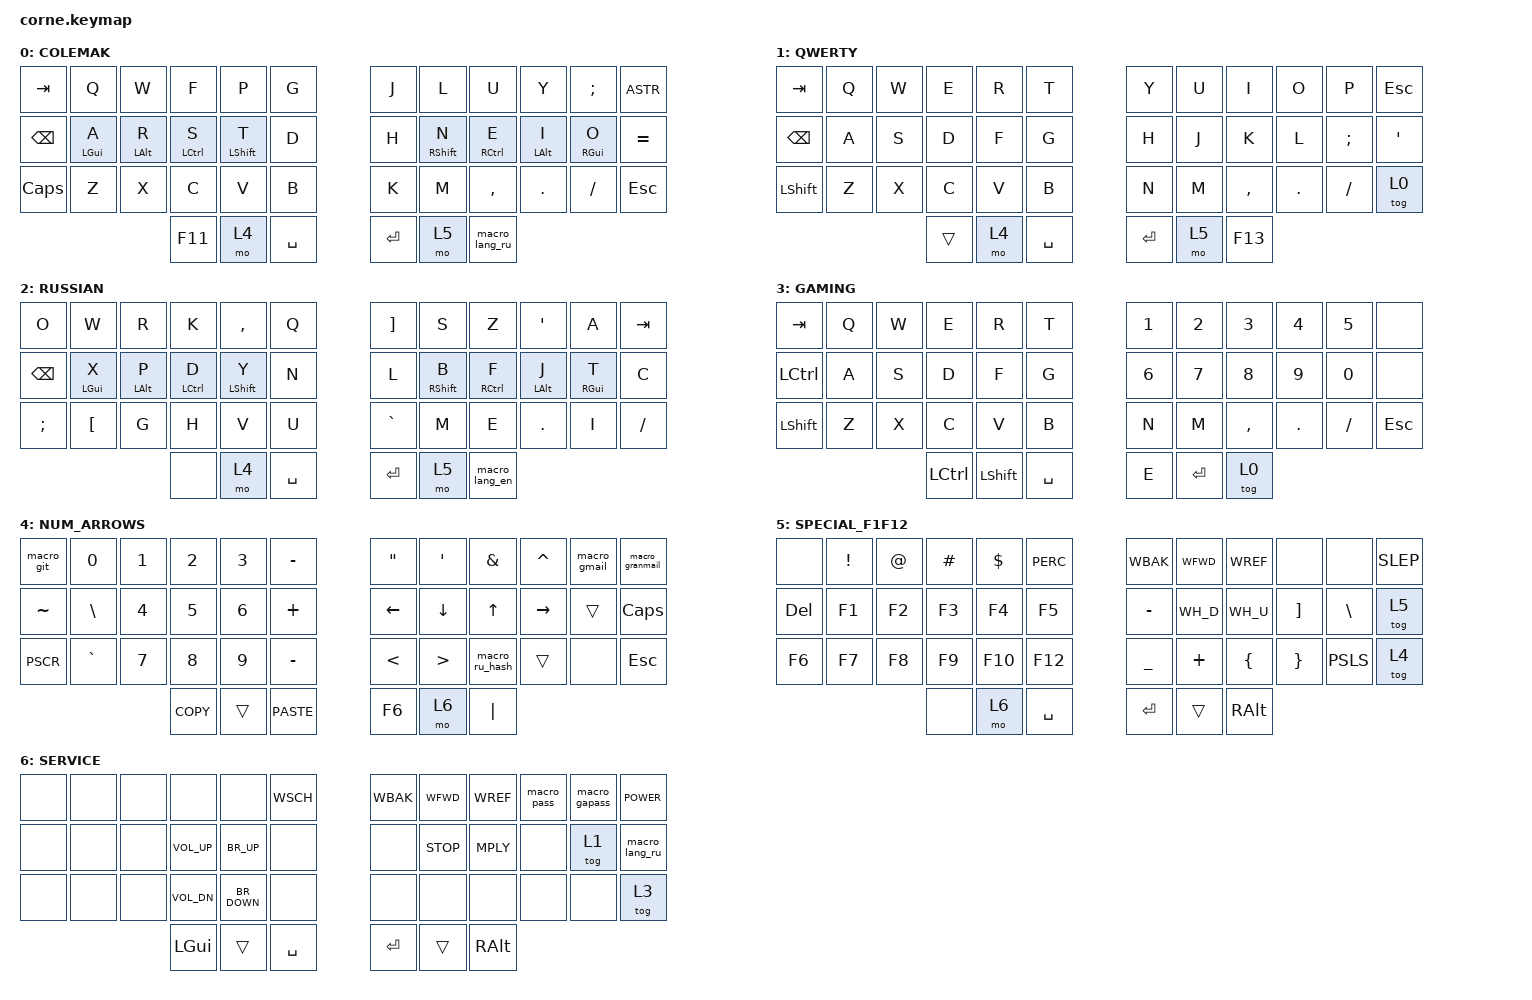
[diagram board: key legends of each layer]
/ {
    /* ======================
     * 1) Define macros here
     * ======================
     * Each macro is labeled and holds a sequence of key presses. 
     * You can adapt them to replicate your QMK strings (like ESC + ":w" + ENTER). 
     */
    macros {
        m_save_w: macro_save_w {
            label = "SAVE_W";
            #binding-cells = <0>;
            /*
             * This replicates:
             *   ESC -> ":w" -> ENTER
             */
            bindings = <
                &kp ESC
                &str ":w"
                &kp ENTER
            >;
        };

        m_wq: macro_wq {
            label = "WQ";
            #binding-cells = <0>;
            /*
             *   ESC -> ":wq" -> ENTER
             */
            bindings = <
                &kp ESC
                &str ":wq"
                &kp ENTER
            >;
        };

        m_pass: macro_pass {
            label = "PASS";
            #binding-cells = <0>;
            /*
             *   "" -> ENTER
             */
            bindings = <
                &str ""
                &kp ENTER
            >;
        };

        m_gapass: macro_gapass {
            label = "GAPASS";
            #binding-cells = <0>;
            /*
             *   "" -> ENTER
             */
            bindings = <
                &str ""
                &kp ENTER
            >;
        };

        m_git: macro_git {
            label = "GIT_TOKEN";
            #binding-cells = <0>;
            /*
             *   "" -> ENTER
             */
            bindings = <
                &str ""
                &kp ENTER
            >;
        };

        m_gmail: macro_gmail {
            label = "GMAIL";
            #binding-cells = <0>;
            /*
             *   "andrejgrankov@gmail.com"
             */
            bindings = <
                &str "andrejgrankov@gmail.com"
            >;
        };

        m_granmail: macro_granmail {
            label = "GRANMAIL";
            #binding-cells = <0>;
            /*
             *   "gran-san2003@yandex.ru"
             */
            bindings = <
                &str "gran-san2003@yandex.ru"
            >;
        };

        /* 
         * Macro that performs Alt+Space to switch language, 
         * then toggles or jumps to a layer, etc.
         */
        switch_lang_ru: macro_lang_ru {
            label = "LANG_RU";
            #binding-cells = <0>;
            /*
             *   1) Move to Russian layer (layer 2).
             *   2) Press ALT+SPACE to change system language.
             */
            bindings = <
                &tog 2             /* or &mo 2, or &layer_switch if you prefer */
                &kp LALT
                &kp SPACE
            >;
        };

        switch_lang_en: macro_lang_en {
            label = "LANG_EN";
            #binding-cells = <0>;
            /*
             *   1) Move to base layer (layer 0).
             *   2) Press ALT+SPACE to change system language.
             */
            bindings = <
                &tog 0
                &kp LALT
                &kp SPACE
            >;
        };

        m_ru_hash: macro_ru_hash {
            label = "RU_HASH";
            #binding-cells = <0>;
            /*
             *   Press alt+space to switch to RU,
             *   Type "#",
             *   Press alt+space to switch back to EN.
             */
            bindings = <
                &kp LALT
                &kp SPACE
                &kp NUMBER_SIGN  /* "#" */
                &kp LALT
                &kp SPACE
            >;
        };
    };

    /* ======================
     * 2) Define COMBOS here
     * ======================
     * Each combo references key-positions for the pressed keys.
     * "key-positions" must match the physical matrix indexes for your board.
     */
    combos {
        combo_lbrc {
            timeout-ms = <50>;
            key-positions = < /* W pos */ /* F pos */ >;  // e.g. <4 5>
            bindings = <&kp LBKT>;
        };

        combo_wq {
            timeout-ms = <50>;
            key-positions = < /* ALT_I pos */ /* GUI_O pos */ >;
            bindings = <&macro_wq>;  // calls m_wq
        };

        combo_save_w {
            timeout-ms = <50>;
            key-positions = < /* Y pos */ /* SEMI pos */ >;
            bindings = <&macro_save_w>; // calls m_save_w
        };

        /*
         * Continue defining the rest of your combos (29 combos total)
         * ...
         */
    };

    keymap {
        compatible = "zmk,keymap";

        /* 
         * =====================
         * LAYER 0: COLEMAK-ish
         * =====================
         * Replicates your QMK [0] = LAYOUT_split_3x6_3 (Colemak)
         */
        colemak_layer {
            label = "COLEMAK";
            bindings = <
                &kp TAB    &kp Q        &kp W         &kp F         &kp P        &kp G       &kp J    &kp L         &kp U     &kp Y     &kp SEMI   &kp ASTR
                &kp BSPC   &mt LGUI A   &mt LALT R    &mt LCTRL S   &mt LSHFT T  &kp D       &kp H    &mt RSHFT N   &mt RCTRL E &mt LALT I &mt RGUI O &kp EQUAL
                &kp CAPS   &kp Z       &kp X         &kp C         &kp V        &kp B       &kp K    &kp M         &kp COMMA &kp DOT   &kp FSLH   &kp ESC
                /* thumb keys */
                &kp F11    &mo 4       &kp SPACE     &kp ENTER     &mo 5        &macro_lang_ru
            >;
        };

        /* 
         * =====================
         * LAYER 1: QWERTY
         * =====================
         */
        qwerty_layer {
            label = "QWERTY";
            bindings = <
                &kp TAB   &kp Q    &kp W    &kp E    &kp R    &kp T      &kp Y    &kp U    &kp I    &kp O    &kp P       &kp ESC
                &kp BSPC  &kp A    &kp S    &kp D    &kp F    &kp G      &kp H    &kp J    &kp K    &kp L    &kp SEMI    &kp SQT
                &kp LSHFT &kp Z    &kp X    &kp C    &kp V    &kp B      &kp N    &kp M    &kp COMMA &kp DOT &kp FSLH    &tog 0  /* might differ from QMK's DF(0) logic */
                /* thumb keys */
                &trans    &mo 4    &kp SPACE &kp ENTER &mo 5   &kp F13
            >;
        };

        /* 
         * =====================
         * LAYER 2: RUSSIAN
         * =====================
         * You mentioned switching to layer [2] = Russian + "switch_language()"
         */
        russian_layer {
            label = "RUSSIAN";
            bindings = <
                &kp O     &kp W    &kp R     &kp K     &kp COMMA &kp Q     &kp RBKT   &kp S    &kp Z    &kp SQT  &kp A     &kp TAB
                &kp BSPC  &mt LGUI X &mt LALT P &mt LCTRL D &mt LSHFT Y &kp N  &kp L     &mt RSHFT B &mt RCTRL F &mt LALT J &mt RGUI T &kp C
                &kp SEMI  &kp LBKT &kp G     &kp H     &kp V    &kp U     &kp GRAVE  &kp M    &kp E    &kp DOT  &kp I     &kp FSLH
                /* thumb keys */
                &none     &mo 4    &kp SPACE &kp ENTER &mo 5    &macro_lang_en
            >;
        };

        /* 
         * =====================
         * LAYER 3: GAMING
         * =====================
         */
        gaming_layer {
            label = "GAMING";
            bindings = <
                &kp TAB   &kp Q   &kp W   &kp E   &kp R   &kp T    &kp N1   &kp N2   &kp N3   &kp N4   &kp N5    &none
                &kp LCTRL &kp A   &kp S   &kp D   &kp F   &kp G    &kp N6   &kp N7   &kp N8   &kp N9   &kp N0    &none
                &kp LSHFT &kp Z   &kp X   &kp C   &kp V   &kp B    &kp N    &kp M    &kp COMMA &kp DOT &kp FSLH  &kp ESC
                /* thumb keys */
                &kp LCTRL &kp LSHFT &kp SPACE &kp E &kp ENTER &tog 0
            >;
        };

        /* 
         * =====================
         * LAYER 4: NUMS/ARROWS
         * =====================
         */
        layer_4 {
            label = "NUM_ARROWS";
            bindings = <
                &macro_git  &kp N0    &kp N1  &kp N2   &kp N3   &kp MINUS   &kp DQT  &kp SQT   &kp AMPS  &kp CARET &macro_gmail    &macro_granmail
                &kp TILDE   &kp BSLH  &kp N4  &kp N5   &kp N6   &kp PLUS    &kp LEFT &kp DOWN &kp UP    &kp RIGHT &trans          &kp CAPS
                &kp PSCR    &kp GRAVE &kp N7  &kp N8   &kp N9   &kp MINUS   &kp LT   &kp GT   &macro_ru_hash &trans   &none         &kp ESC
                /* thumb keys */
                &kp COPY &trans &kp PASTE &kp F6  &mo 6  &kp PIPE
            >;
        };

        /* 
         * =====================
         * LAYER 5: SPECIAL CHARS F1-F12
         * =====================
         */
        layer_5 {
            label = "SPECIAL_F1F12";
            bindings = <
                &none      &kp EXCL &kp AT   &kp HASH &kp DLLR &kp PERC    &kp WBAK &kp WFWD &kp WREF &none    &none     &kp SLEP
                &kp DEL    &kp F1   &kp F2   &kp F3   &kp F4   &kp F5      &kp MINUS &kp WH_D &kp WH_U &kp RBKT &kp BSLH  &tog 5
                &kp F6     &kp F7   &kp F8   &kp F9   &kp F10  &kp F12     &kp UNDER &kp PLUS &kp LBRC &kp RBRC &kp PSLS  &tog 4
                /* thumb keys */
                &none &mo 6 &kp SPACE &kp ENTER &trans &kp RALT
            >;
        };

        /* 
         * =====================
         * LAYER 6: SERVICE
         * =====================
         */
        layer_6 {
            label = "SERVICE";
            bindings = <
                &none &none  &none  &none   &none   &kp WSCH   &kp WBAK &kp WFWD &kp WREF &macro_pass &macro_gapass &kp POWER
                &none &none  &none  &kp VOL_UP &kp BR_UP &none  &none   &kp STOP &kp MPLY &none      &tog 1         &macro_lang_ru
                &none &none  &none  &kp VOL_DN &kp BR_DOWN &none &none  &none   &none    &none      &none          &tog 3
                /* thumb keys */
                &kp LGUI &trans &kp SPACE &kp ENTER &trans &kp RALT
            >;
        };
    };
};
